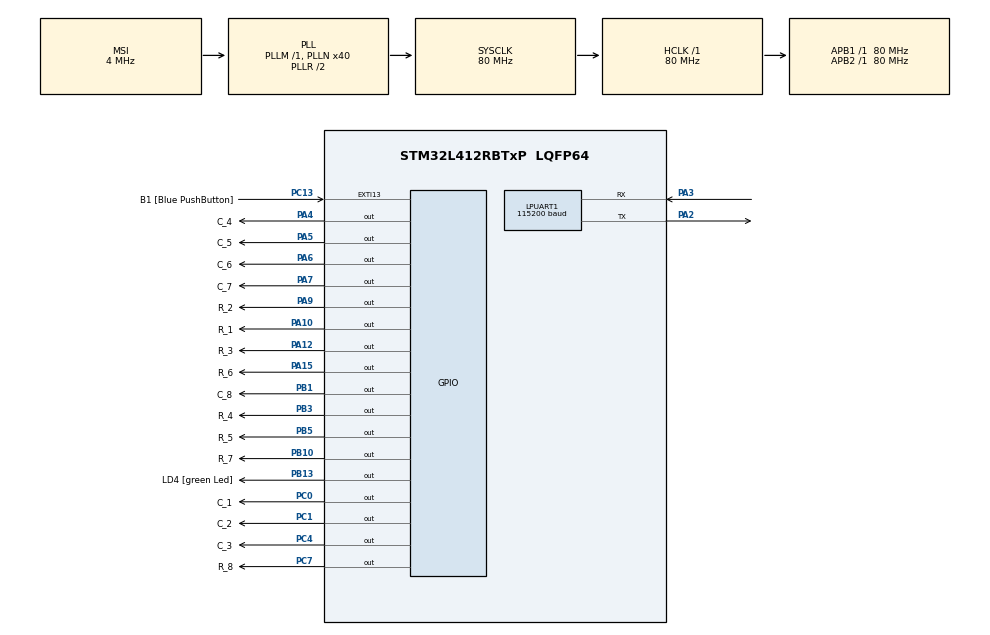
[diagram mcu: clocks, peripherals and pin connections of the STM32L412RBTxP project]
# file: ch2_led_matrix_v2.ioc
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LPUART1.BaudRate=115200
LPUART1.WordLength=UART_WORDLENGTH_8B
Mcu.Family=STM32L4
Mcu.Name=STM32L412RBTxP
Mcu.Package=LQFP64
NVIC.PriorityGroup=NVIC_PRIORITYGROUP_4
PA10.GPIO_Label=R_1
PA10.GPIO_ModeDefaultOutputPP=GPIO_MODE_OUTPUT_PP
PA10.GPIO_PuPd=GPIO_PULLUP
PA10.GPIO_Speed=GPIO_SPEED_FREQ_LOW
PA10.PinState=GPIO_PIN_RESET
PA10.Signal=GPIO_Output
PA12.GPIO_Label=R_3
PA12.GPIO_ModeDefaultOutputPP=GPIO_MODE_OUTPUT_PP
PA12.GPIO_PuPd=GPIO_PULLUP
PA12.GPIO_Speed=GPIO_SPEED_FREQ_LOW
PA12.PinState=GPIO_PIN_RESET
PA12.Signal=GPIO_Output
PA13\ (JTMS/SWDIO).GPIO_Label=TMS
PA13\ (JTMS/SWDIO).Mode=Serial_Wire
PA13\ (JTMS/SWDIO).Signal=SYS_JTMS-SWDIO
PA14\ (JTCK/SWCLK).GPIO_Label=TCK
PA14\ (JTCK/SWCLK).Mode=Serial_Wire
PA14\ (JTCK/SWCLK).Signal=SYS_JTCK-SWCLK
PA15\ (JTDI).GPIO_Label=R_6
PA15\ (JTDI).GPIO_ModeDefaultOutputPP=GPIO_MODE_OUTPUT_PP
PA15\ (JTDI).GPIO_PuPd=GPIO_PULLUP
PA15\ (JTDI).GPIO_Speed=GPIO_SPEED_FREQ_LOW
PA15\ (JTDI).PinState=GPIO_PIN_RESET
PA15\ (JTDI).Signal=GPIO_Output
PA2.Mode=Asynchronous
PA2.Signal=LPUART1_TX
PA3.Mode=Asynchronous
PA3.Signal=LPUART1_RX
PA4.GPIO_Label=C_4
PA4.GPIO_ModeDefaultOutputPP=GPIO_MODE_OUTPUT_PP
PA4.GPIO_PuPd=GPIO_NOPULL
PA4.GPIO_Speed=GPIO_SPEED_FREQ_LOW
PA4.PinState=GPIO_PIN_SET
PA4.Signal=GPIO_Output
PA5.GPIO_Label=C_5
PA5.GPIO_ModeDefaultOutputPP=GPIO_MODE_OUTPUT_PP
PA5.GPIO_PuPd=GPIO_NOPULL
PA5.GPIO_Speed=GPIO_SPEED_FREQ_LOW
PA5.PinState=GPIO_PIN_SET
PA5.Signal=GPIO_Output
PA6.GPIO_Label=C_6
PA6.GPIO_ModeDefaultOutputPP=GPIO_MODE_OUTPUT_PP
PA6.GPIO_PuPd=GPIO_NOPULL
PA6.GPIO_Speed=GPIO_SPEED_FREQ_LOW
PA6.PinState=GPIO_PIN_SET
PA6.Signal=GPIO_Output
PA7.GPIO_Label=C_7
PA7.GPIO_ModeDefaultOutputPP=GPIO_MODE_OUTPUT_PP
PA7.GPIO_PuPd=GPIO_NOPULL
PA7.GPIO_Speed=GPIO_SPEED_FREQ_LOW
PA7.PinState=GPIO_PIN_SET
PA7.Signal=GPIO_Output
PA9.GPIO_Label=R_2
PA9.GPIO_ModeDefaultOutputPP=GPIO_MODE_OUTPUT_PP
PA9.GPIO_PuPd=GPIO_PULLUP
PA9.GPIO_Speed=GPIO_SPEED_FREQ_LOW
PA9.PinState=GPIO_PIN_RESET
PA9.Signal=GPIO_Output
PB1.GPIO_Label=C_8
PB1.GPIO_ModeDefaultOutputPP=GPIO_MODE_OUTPUT_PP
PB1.GPIO_PuPd=GPIO_NOPULL
PB1.GPIO_Speed=GPIO_SPEED_FREQ_LOW
PB1.PinState=GPIO_PIN_SET
PB1.Signal=GPIO_Output
PB10.GPIO_Label=R_7
PB10.GPIO_ModeDefaultOutputPP=GPIO_MODE_OUTPUT_PP
PB10.GPIO_PuPd=GPIO_PULLUP
PB10.GPIO_Speed=GPIO_SPEED_FREQ_LOW
PB10.PinState=GPIO_PIN_RESET
PB10.Signal=GPIO_Output
PB13.GPIO_Label=LD4 [green Led]
PB13.Signal=GPIO_Output
PB3\ (JTDO/TRACESWO).GPIO_Label=R_4
PB3\ (JTDO/TRACESWO).GPIO_ModeDefaultOutputPP=GPIO_MODE_OUTPUT_PP
PB3\ (JTDO/TRACESWO).GPIO_PuPd=GPIO_PULLUP
PB3\ (JTDO/TRACESWO).GPIO_Speed=GPIO_SPEED_FREQ_LOW
PB3\ (JTDO/TRACESWO).PinState=GPIO_PIN_RESET
PB3\ (JTDO/TRACESWO).Signal=GPIO_Output
PB5.GPIO_Label=R_5
PB5.GPIO_ModeDefaultOutputPP=GPIO_MODE_OUTPUT_PP
PB5.GPIO_PuPd=GPIO_PULLUP
PB5.GPIO_Speed=GPIO_SPEED_FREQ_LOW
PB5.PinState=GPIO_PIN_RESET
PB5.Signal=GPIO_Output
PC0.GPIO_Label=C_1
PC0.GPIO_ModeDefaultOutputPP=GPIO_MODE_OUTPUT_PP
PC0.PinState=GPIO_PIN_SET
PC0.Signal=GPIO_Output
PC1.GPIO_Label=C_2
PC1.GPIO_ModeDefaultOutputPP=GPIO_MODE_OUTPUT_PP
PC1.PinState=GPIO_PIN_SET
PC1.Signal=GPIO_Output
PC13.GPIO_Label=B1 [Blue PushButton]
PC13.GPIO_ModeDefaultEXTI=GPIO_MODE_IT_FALLING
PC13.GPIO_PuPd=GPIO_NOPULL
PC13.Signal=GPXTI13
PC14-OSC32_IN\ (PC14).Mode=LSE-External-Oscillator
PC14-OSC32_IN\ (PC14).Signal=RCC_OSC32_IN
PC15-OSC32_OUT\ (PC15).Mode=LSE-External-Oscillator
PC15-OSC32_OUT\ (PC15).Signal=RCC_OSC32_OUT
PC4.GPIO_Label=C_3
PC4.GPIO_ModeDefaultOutputPP=GPIO_MODE_OUTPUT_PP
PC4.GPIO_PuPd=GPIO_NOPULL
PC4.GPIO_Speed=GPIO_SPEED_FREQ_LOW
PC4.PinState=GPIO_PIN_SET
PC4.Signal=GPIO_Output
PC7.GPIO_Label=R_8
PC7.GPIO_ModeDefaultOutputPP=GPIO_MODE_OUTPUT_PP
PC7.GPIO_PuPd=GPIO_PULLUP
PC7.GPIO_Speed=GPIO_SPEED_FREQ_LOW
PC7.PinState=GPIO_PIN_RESET
PC7.Signal=GPIO_Output
PH0-OSC_IN\ (PH0).GPIO_Label=MCO
PH0-OSC_IN\ (PH0).Mode=HSE-External-Clock-Source
PH0-OSC_IN\ (PH0).Signal=RCC_OSC_IN
PH1-OSC_OUT\ (PH1).Signal=RCC_OSC_OUT
ProjectManager.HeapSize=0x200
ProjectManager.StackSize=0x400
ProjectManager.TargetToolchain=STM32CubeIDE
RCC.ADCFreq_Value=80000000
RCC.AHBFreq_Value=80000000
RCC.APB1Freq_Value=80000000
RCC.APB1TimFreq_Value=80000000
RCC.APB2Freq_Value=80000000
RCC.APB2TimFreq_Value=80000000
RCC.CortexFreq_Value=80000000
RCC.FLatency=FLASH_LATENCY_4
RCC.HCLKFreq_Value=80000000
RCC.HSE_VALUE=8000000
RCC.HSI48_VALUE=48000000
RCC.HSICalibrationValue=64
RCC.HSI_VALUE=16000000
RCC.MSIAutoCalibration=DISABLED
RCC.MSI_VALUE=4000000
RCC.PLLN=40
RCC.PREFETCH_ENABLE=1
RCC.SYSCLKFreq_VALUE=80000000
RCC.SYSCLKSource=RCC_SYSCLKSOURCE_PLLCLK
RCC.USBFreq_Value=4000000
RCC.VCOOutputFreq_Value=160000000
board=NUCLEO-L412RB-P

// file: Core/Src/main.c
/* USER CODE BEGIN Header */
/**
 ******************************************************************************
 * @file           : main.c
 * @brief          : Main program body
 ******************************************************************************
 * @attention
 *
 * Copyright (c) 2026 STMicroelectronics.
 * All rights reserved.
 *
 * This software is licensed under terms that can be found in the LICENSE file
 * in the root directory of this software component.
 * If no LICENSE file comes with this software, it is provided AS-IS.
 *
 ******************************************************************************
 */
/* USER CODE END Header */
#include "main.h"

UART_HandleTypeDef hlpuart1;

void SystemClock_Config(void);
static void MX_GPIO_Init(void);
static void MX_LPUART1_UART_Init(void);

/* USER CODE BEGIN 0 */
// add
#include <stdio.h>
#include <string.h>
#include <unistd.h>
#include <stm32l412xx.h>

// 선언 함수
static void print_buf8x8(void);

static GPIO_TypeDef *const ROW_PORT[];
static const uint16_t ROW_PIN[];
static GPIO_TypeDef *const COL_PORT[];
static const uint16_t COL_PIN[];

static const uint8_t img_x[3][3];
static uint8_t buf_8[8][8];

static inline void row_off(uint8_t r);
static inline void row_on(uint8_t r);
static inline void col_on(uint8_t c);
static inline void col_off(uint8_t c);
static inline void matrix_all_off(void);

static void buf_clear(void);
static void x_to_buf_8(int a, int b);
static void draw_buf_8_frame(uint16_t row_hold_ms);
static void show_for_ms(uint32_t total_ms, uint16_t row_hold_ms);

// masking 동작으로 변경
static inline uint8_t make_col_mask_for_row(int r);
static inline void apply_col_mask(uint8_t mask);
static void draw_buf_8_frame(uint16_t row_hold_ms);

// UART로 출력 보내기 위한 함수
int _write(int file, char *ptr, int len)
{
  if (file == STDOUT_FILENO)
  {
    HAL_UART_Transmit(&hlpuart1, (uint8_t *)ptr, len, HAL_MAX_DELAY);
    return len;
  }
  return -1;
}
/* USER CODE END 0 */

int main(void)
{

  /* MCU Configuration--------------------------------------------------------*/

  /* Reset of all peripherals, Initializes the Flash interface and the Systick. */
  HAL_Init();

  /* Configure the system clock */
  SystemClock_Config();

  /* Initialize all configured peripherals */
  MX_GPIO_Init();
  MX_LPUART1_UART_Init();
  /* USER CODE BEGIN 2 */
  // 함수 및 배열 동작 test
  printf("start \r\n");

  buf_clear();

  // col2 관련 테스트 , c r 순서
  for (int r = 0; r < 8; r++)
  {
    for (int c = 0; c < 8; c++)
    {
      buf_8[r][c] = 1; // col=1 전체 ON
    }
    print_buf8x8();
    show_for_ms(80, 1);
    buf_clear();
    matrix_all_off();
  }

  /* USER CODE END 2 */

  /* Infinite loop */
  /* USER CODE BEGIN WHILE */
  while (1)
  {
    // 좌 -> 우 시프트
    for (int i = 0; i < 8; i++)
    {
      for (int x = 0; x < 8; x++)
      {
        buf_clear();
        x_to_buf_8(x, i);
        //        print_buf8x8();
        show_for_ms(80, 1);
      }
    }

    /* USER CODE END WHILE */

  }
}

void SystemClock_Config(void)
{
  RCC_OscInitTypeDef RCC_OscInitStruct = {0};
  RCC_ClkInitTypeDef RCC_ClkInitStruct = {0};

  /** Configure the main internal regulator output voltage
   */
  if (HAL_PWREx_ControlVoltageScaling(PWR_REGULATOR_VOLTAGE_SCALE1) != HAL_OK)
  {
    Error_Handler();
  }

  /** Initializes the RCC Oscillators according to the specified parameters
   * in the RCC_OscInitTypeDef structure.
   */
  RCC_OscInitStruct.OscillatorType = RCC_OSCILLATORTYPE_MSI;
  RCC_OscInitStruct.MSIState = RCC_MSI_ON;
  RCC_OscInitStruct.MSICalibrationValue = 0;
  RCC_OscInitStruct.MSIClockRange = RCC_MSIRANGE_6;
  RCC_OscInitStruct.PLL.PLLState = RCC_PLL_ON;
  RCC_OscInitStruct.PLL.PLLSource = RCC_PLLSOURCE_MSI;
  RCC_OscInitStruct.PLL.PLLM = 1;
  RCC_OscInitStruct.PLL.PLLN = 40;
  RCC_OscInitStruct.PLL.PLLQ = RCC_PLLQ_DIV2;
  RCC_OscInitStruct.PLL.PLLR = RCC_PLLR_DIV2;
  if (HAL_RCC_OscConfig(&RCC_OscInitStruct) != HAL_OK)
  {
    Error_Handler();
  }

  /** Initializes the CPU, AHB and APB buses clocks
   */
  RCC_ClkInitStruct.ClockType = RCC_CLOCKTYPE_HCLK | RCC_CLOCKTYPE_SYSCLK | RCC_CLOCKTYPE_PCLK1 | RCC_CLOCKTYPE_PCLK2;
  RCC_ClkInitStruct.SYSCLKSource = RCC_SYSCLKSOURCE_PLLCLK;
  RCC_ClkInitStruct.AHBCLKDivider = RCC_SYSCLK_DIV1;
  RCC_ClkInitStruct.APB1CLKDivider = RCC_HCLK_DIV1;
  RCC_ClkInitStruct.APB2CLKDivider = RCC_HCLK_DIV1;

  if (HAL_RCC_ClockConfig(&RCC_ClkInitStruct, FLASH_LATENCY_4) != HAL_OK)
  {
    Error_Handler();
  }
}

static void MX_LPUART1_UART_Init(void)
{

  hlpuart1.Instance = LPUART1;
  hlpuart1.Init.BaudRate = 115200;
  hlpuart1.Init.WordLength = UART_WORDLENGTH_8B;
  hlpuart1.Init.StopBits = UART_STOPBITS_1;
  hlpuart1.Init.Parity = UART_PARITY_NONE;
  hlpuart1.Init.Mode = UART_MODE_TX_RX;
  hlpuart1.Init.HwFlowCtl = UART_HWCONTROL_NONE;
  hlpuart1.Init.OneBitSampling = UART_ONE_BIT_SAMPLE_DISABLE;
  hlpuart1.AdvancedInit.AdvFeatureInit = UART_ADVFEATURE_NO_INIT;
  if (HAL_UART_Init(&hlpuart1) != HAL_OK)
  {
    Error_Handler();
  }
}

static void MX_GPIO_Init(void)
{
  GPIO_InitTypeDef GPIO_InitStruct = {0};

  /* GPIO Ports Clock Enable */
  __HAL_RCC_GPIOC_CLK_ENABLE();
  __HAL_RCC_GPIOH_CLK_ENABLE();
  __HAL_RCC_GPIOA_CLK_ENABLE();
  __HAL_RCC_GPIOB_CLK_ENABLE();

  /*Configure GPIO pin Output Level */
  HAL_GPIO_WritePin(GPIOC, C_1_Pin | C_2_Pin | C_3_Pin, GPIO_PIN_SET);

  /*Configure GPIO pin Output Level */
  HAL_GPIO_WritePin(GPIOA, C_4_Pin | C_5_Pin | C_6_Pin | C_7_Pin, GPIO_PIN_SET);

  /*Configure GPIO pin Output Level */
  HAL_GPIO_WritePin(C_8_GPIO_Port, C_8_Pin, GPIO_PIN_SET);

  /*Configure GPIO pin Output Level */
  HAL_GPIO_WritePin(GPIOB, R_7_Pin | LD4_Pin | R_4_Pin | R_5_Pin, GPIO_PIN_RESET);

  /*Configure GPIO pin Output Level */
  HAL_GPIO_WritePin(R_8_GPIO_Port, R_8_Pin, GPIO_PIN_RESET);

  /*Configure GPIO pin Output Level */
  HAL_GPIO_WritePin(GPIOA, R_2_Pin | R_1_Pin | R_3_Pin | R_6_Pin, GPIO_PIN_RESET);

  /*Configure GPIO pin : B1_Pin */
  GPIO_InitStruct.Pin = B1_Pin;
  GPIO_InitStruct.Mode = GPIO_MODE_IT_FALLING;
  GPIO_InitStruct.Pull = GPIO_NOPULL;
  HAL_GPIO_Init(B1_GPIO_Port, &GPIO_InitStruct);

  /*Configure GPIO pins : C_1_Pin C_2_Pin C_3_Pin */
  GPIO_InitStruct.Pin = C_1_Pin | C_2_Pin | C_3_Pin;
  GPIO_InitStruct.Mode = GPIO_MODE_OUTPUT_PP;
  GPIO_InitStruct.Pull = GPIO_NOPULL;
  GPIO_InitStruct.Speed = GPIO_SPEED_FREQ_LOW;
  HAL_GPIO_Init(GPIOC, &GPIO_InitStruct);

  /*Configure GPIO pins : C_4_Pin C_5_Pin C_6_Pin C_7_Pin */
  GPIO_InitStruct.Pin = C_4_Pin | C_5_Pin | C_6_Pin | C_7_Pin;
  GPIO_InitStruct.Mode = GPIO_MODE_OUTPUT_PP;
  GPIO_InitStruct.Pull = GPIO_NOPULL;
  GPIO_InitStruct.Speed = GPIO_SPEED_FREQ_LOW;
  HAL_GPIO_Init(GPIOA, &GPIO_InitStruct);

  /*Configure GPIO pins : C_8_Pin LD4_Pin */
  GPIO_InitStruct.Pin = C_8_Pin | LD4_Pin;
  GPIO_InitStruct.Mode = GPIO_MODE_OUTPUT_PP;
  GPIO_InitStruct.Pull = GPIO_NOPULL;
  GPIO_InitStruct.Speed = GPIO_SPEED_FREQ_LOW;
  HAL_GPIO_Init(GPIOB, &GPIO_InitStruct);

  /*Configure GPIO pins : R_7_Pin R_4_Pin R_5_Pin */
  GPIO_InitStruct.Pin = R_7_Pin | R_4_Pin | R_5_Pin;
  GPIO_InitStruct.Mode = GPIO_MODE_OUTPUT_PP;
  GPIO_InitStruct.Pull = GPIO_PULLUP;
  GPIO_InitStruct.Speed = GPIO_SPEED_FREQ_LOW;
  HAL_GPIO_Init(GPIOB, &GPIO_InitStruct);

  /*Configure GPIO pin : R_8_Pin */
  GPIO_InitStruct.Pin = R_8_Pin;
  GPIO_InitStruct.Mode = GPIO_MODE_OUTPUT_PP;
  GPIO_InitStruct.Pull = GPIO_PULLUP;
  GPIO_InitStruct.Speed = GPIO_SPEED_FREQ_LOW;
  HAL_GPIO_Init(R_8_GPIO_Port, &GPIO_InitStruct);

  /*Configure GPIO pins : R_2_Pin R_1_Pin R_3_Pin R_6_Pin */
  GPIO_InitStruct.Pin = R_2_Pin | R_1_Pin | R_3_Pin | R_6_Pin;
  GPIO_InitStruct.Mode = GPIO_MODE_OUTPUT_PP;
  GPIO_InitStruct.Pull = GPIO_PULLUP;
  GPIO_InitStruct.Speed = GPIO_SPEED_FREQ_LOW;
  HAL_GPIO_Init(GPIOA, &GPIO_InitStruct);

}

/* USER CODE BEGIN 4 */
// add - 함수 정의
//  masking 코드 상단에 두기

// mask 형태로 col 순환 -> c r 기준 순서 유지
//  static inline unit8_t make_col_mask_for_row(int r){
//    uint8_t mask=0;

//   for (int c =0 ; c<8 ; c++){
//     if(buf_8[c][r])
//       // c 번째 비트만 1인 값 생성 + OR 연산
//       mask | = (1u << c);
//   }
//   return mask;
// }

// // mask buf_8에 대입 완료 -> GPIO에 대입
// static inline void apply_col_mask(uint8_t mask){
//   // A,B,C 포트별로 set, reset 진행
//   uint16_t SetA =0, rstA=0;
//   uint16_t SetB =0, rstB=0;
//   uint16_t SetC =0, rstC=0;
//   // 현재 핀으ㅢ 정보 추출함 ->
//   for (int c = 0; c <8 ; c++){
//     uint16_t pin = COL_PIN[c];
//     GPIO_TypeDef* port = COL_PORT[c];

//     if (mask & (1u << c) == 1){
//       // on 동작 - col 기준 reset 시켜줘야 함
//       if (port == GPIOC)
//         rstC = pin;
//       else if (port == GPIOA)
//         rstA = pin;
//       else if (port == GPIOB)
//         rstB = pin;
//     }
//     else{
//       // off 동작 - col 기준 set
//       if (port == GPIOC)
//         SetC = pin;
//       else if (port == GPIOA)
//         SetA = pin;
//       else if (port == GPIOB)
//         SetB = pin;
//     }
//   }
//   // BSRR

// }

// col mask의 포트별 적용
//  포트별로 적용하면 이전이랑 무슨 차이 있는지?

// 배열 선언
// 배열 생성 여부 test 용
static void print_buf8x8(void)
{
  printf("---- buf8x8 ----\r\n");
  for (int y = 0; y < 8; y++)
  {
    for (int x = 0; x < 8; x++)
    {
      printf("%d ", buf_8[y][x]);
    }
    printf("\r\n");
  }
  printf("----------------\r\n");
}

// C , R 배열화 진행
static GPIO_TypeDef *const ROW_PORT[] = {
    R_1_GPIO_Port, R_2_GPIO_Port, R_3_GPIO_Port, R_4_GPIO_Port,
    R_5_GPIO_Port, R_6_GPIO_Port, R_7_GPIO_Port, R_8_GPIO_Port};
static const uint16_t ROW_PIN[] = {
    R_1_Pin, R_2_Pin, R_3_Pin, R_4_Pin,
    R_5_Pin, R_6_Pin, R_7_Pin, R_8_Pin};

static GPIO_TypeDef *const COL_PORT[] = {
    C_1_GPIO_Port, C_2_GPIO_Port, C_3_GPIO_Port, C_4_GPIO_Port,
    C_5_GPIO_Port, C_6_GPIO_Port, C_7_GPIO_Port, C_8_GPIO_Port};
static const uint16_t COL_PIN[] = {
    C_1_Pin, C_2_Pin, C_3_Pin, C_4_Pin,
    C_5_Pin, C_6_Pin, C_7_Pin, C_8_Pin};

// 3x3 이미지 -> X 자 모양
static const uint8_t img_x[3][3] = {
    {1, 0, 1},
    {0, 1, 0},
    {1, 0, 1}};

// 배열에서 사용성 향상 위한 함수 선언

static inline void row_off(uint8_t r)
{
  HAL_GPIO_WritePin(ROW_PORT[r], ROW_PIN[r], GPIO_PIN_RESET);
}

static inline void row_on(uint8_t r)
{
  HAL_GPIO_WritePin(ROW_PORT[r], ROW_PIN[r], GPIO_PIN_SET);
}

static inline void col_on(uint8_t c)
{
  HAL_GPIO_WritePin(COL_PORT[c], COL_PIN[c], GPIO_PIN_RESET);
}

static inline void col_off(uint8_t c)
{
  HAL_GPIO_WritePin(COL_PORT[c], COL_PIN[c], GPIO_PIN_SET);
}

// 전체 종료
static inline void matrix_all_off(void)
{
  // col -> set
  for (int c = 0; c < 8; c++)
  {
    col_off(c);
  }
  // row -> reset
  for (int r = 0; r < 8; r++)
  {
    row_off(r);
  }
}

// 버퍼 동작 관련 선언

// 버퍼 clear
// 동시에 row, col GPIO clear 가능한지 확인하기
static void buf_clear(void)
{
  for (int x = 0; x < 8; x++)
  {
    for (int y = 0; y < 8; y++)
    {
      buf_8[x][y] = 0;
    }
  }
}

// c r 순서대로 해보기
static void x_to_buf_8(int a, int b)
{
  for (int r = 0; r < 3; r++)
  {

    for (int c = 0; c < 3; c++)
    {
      int raw_c = a + c;     // 실제 x 연산 해주는 값
      int bc = raw_c % 8;    // 0~7 찍혀야하는 좌표
      int carry = raw_c / 8; // int 사용하여 몫이 1 or 0으로 출력

      int raw_r = b + r + carry; // carry값 유무를 통해 1칸 단위로 움직이도록
      int br = raw_r % 8;

      buf_8[bc][br] = img_x[c][r];
    }
  }
}

// 한 프레임 생성
// row_hold_ms - 다음 함수에서 대입 예정
// c r 순서로 업데이트 확인
// matrix_all_off() 뒤로 빼서 진행 -> R_8 , R_1 활성화 시간 차이 메꾸기 위함
static void draw_buf_8_frame(uint16_t row_hold_ms)
{
  for (int r = 0; r < 8; r++)
  {
    // row에서 col 설정
    for (int c = 0; c < 8; c++)
    {
      if (buf_8[c][r] == 1)
      {
        col_on(c);
      }
      else
      {
        col_off(c);
      }
    }
    // row 하나 단위로 c 켤 것들 다 켜기
    row_on(r);

    // 유지시간 -> 사람 눈에 안띌 정도 , 1~2ms 까지 줄여보기
    HAL_Delay(row_hold_ms);
    // 전체 off
    matrix_all_off();
  }
}

// 눈에 보이도록 '
static void show_for_ms(uint32_t total_ms, uint16_t row_hold_ms)
{
  // row = 8
  uint32_t frame_time = 8 * row_hold_ms;
  if (frame_time == 0)
  {
    frame_time = 1;
  }

  uint32_t frames = total_ms / frame_time;
  if (frames == 0)
  {
    frames = 1;
  }
  for (uint32_t i = 0; i < frames; i++)
  {
    draw_buf_8_frame(row_hold_ms);
  }
}

/* USER CODE END 4 */

void Error_Handler(void)
{
  __disable_irq();
  while (1)
  {
  }
}
